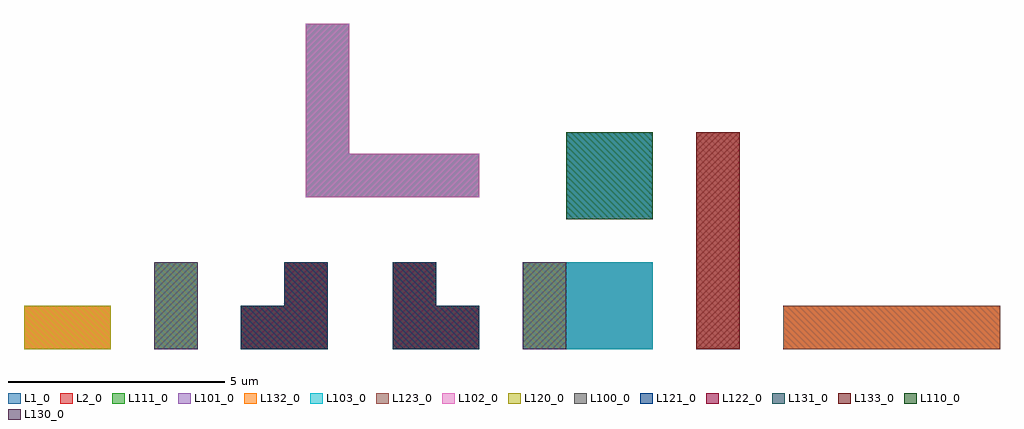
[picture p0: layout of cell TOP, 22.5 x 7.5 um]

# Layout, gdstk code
from math import pi, radians
import gdstk
lib = gdstk.Library(unit=1e-6, precision=1e-09)
def R(c, l, rs):  # rectangles x0, y0, x1, y1
    for r in rs: c.add(gdstk.rectangle(r[:2], r[2:], *l))
def P(c, l, *ps):  # polygons
    for p in ps: c.add(gdstk.Polygon(p, *l))
L1_0 = (1, 0)
L2_0 = (2, 0)
L100_0 = (100, 0)
L101_0 = (101, 0)
L102_0 = (102, 0)
L103_0 = (103, 0)
L110_0 = (110, 0)
L111_0 = (111, 0)
L120_0 = (120, 0)
L121_0 = (121, 0)
L122_0 = (122, 0)
L123_0 = (123, 0)
L130_0 = (130, 0)
L131_0 = (131, 0)
L132_0 = (132, 0)
L133_0 = (133, 0)

part = lib.new_cell('PART')
R(part, L1_0, [(0,0,1,2)])
R(part, L2_0, [(0,0,1,2)])

part_1 = lib.new_cell('PART$1')

part_var1 = lib.new_cell('PART$VAR1')

child = lib.new_cell('CHILD')
P(child, L100_0, [(0,0),(0,2),(1,2),(1,1),(2,1),(2,0)])
P(child, L111_0, [(0,0),(0,2),(1,2),(1,1),(2,1),(2,0)])
R(child, L120_0, [(3,0,4,2)])
P(child, L121_0, [(0,0),(0,2),(1,2),(1,1),(2,1),(2,0)])
P(child, L122_0, [(0,0),(0,2),(1,2),(1,1),(2,1),(2,0)])
R(child, L130_0, [(3,0,4,2)])
P(child, L131_0, [(0,0),(0,2),(1,2),(1,1),(2,1),(2,0)])
P(child, L132_0, [(0,0),(0,2),(1,2),(1,1),(2,1),(2,0)])
child.add(gdstk.Reference(part, (0,0)))
child.add(gdstk.Reference(part, (3,0)))
child.add(gdstk.Reference(part, (2,0), rotation=pi/2))
child.add(gdstk.Reference(part_1, (0,0)))
child.add(gdstk.Reference(part_1, (3,0)))
child.add(gdstk.Reference(part_var1, (2,0), rotation=pi/2))

top = lib.new_cell('TOP')
R(top, L1_0, [(4,0,6,2), (4,3,6,5), (-2,3.5,-1,7.5), (-2,3.5,2,4.5)])
R(top, L2_0, [(-8.5,0,-6.5,1), (7,0,8,5), (9,0,14,1)])
R(top, L101_0, [(-5.5,0,-4.5,2), (3,0,6,2), (4,3,6,5)])
P(top, L101_0, [(-2,3.5),(-2,7.5),(-1,7.5),(-1,4.5),(2,4.5),(2,3.5)])
P(top, L102_0, [(-2,3.5),(-2,7.5),(-1,7.5),(-1,4.5),(2,4.5),(2,3.5)])
R(top, L103_0, [(-5.5,0,-4.5,2), (3,0,6,2), (4,3,6,5)])
R(top, L110_0, [(4,3,6,5)])
R(top, L111_0, [(-5.5,0,-4.5,2), (3,0,6,2)])
P(top, L111_0, [(-2,3.5),(-2,7.5),(-1,7.5),(-1,4.5),(2,4.5),(2,3.5)])
R(top, L120_0, [(-8.5,0,-6.5,1)])
R(top, L123_0, [(7,0,8,5), (9,0,14,1)])
R(top, L132_0, [(-8.5,0,-6.5,1), (9,0,14,1)])
R(top, L133_0, [(7,0,8,5)])
top.add(gdstk.Reference(child, (0,0)))
top.add(gdstk.Reference(child, (-1.5,0), rotation=pi, x_reflection=True))

lib.write_gds('TOP.gds')
